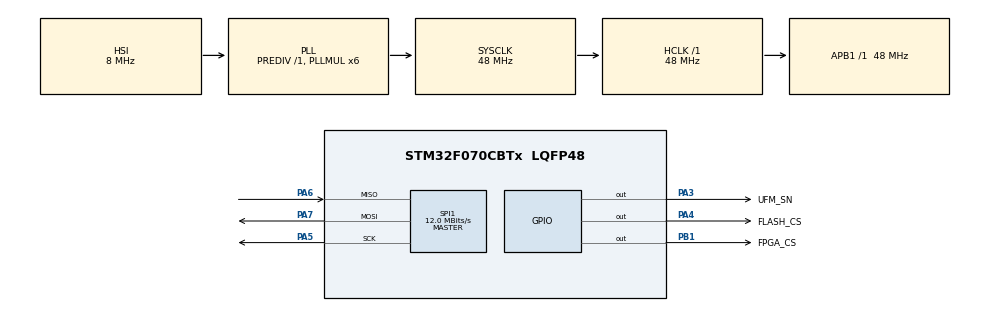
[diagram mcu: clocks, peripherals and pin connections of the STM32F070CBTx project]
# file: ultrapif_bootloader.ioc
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Dma.Request0=SPI1_RX
Dma.Request1=SPI1_TX
Dma.SPI1_RX.0.Direction=DMA_PERIPH_TO_MEMORY
Dma.SPI1_RX.0.Instance=DMA1_Channel2
Dma.SPI1_RX.0.MemDataAlignment=DMA_MDATAALIGN_BYTE
Dma.SPI1_RX.0.MemInc=DMA_MINC_ENABLE
Dma.SPI1_RX.0.Mode=DMA_NORMAL
Dma.SPI1_RX.0.PeriphDataAlignment=DMA_PDATAALIGN_BYTE
Dma.SPI1_RX.0.PeriphInc=DMA_PINC_DISABLE
Dma.SPI1_RX.0.Priority=DMA_PRIORITY_LOW
Dma.SPI1_TX.1.Direction=DMA_MEMORY_TO_PERIPH
Dma.SPI1_TX.1.Instance=DMA1_Channel3
Dma.SPI1_TX.1.MemDataAlignment=DMA_MDATAALIGN_BYTE
Dma.SPI1_TX.1.MemInc=DMA_MINC_ENABLE
Dma.SPI1_TX.1.Mode=DMA_NORMAL
Dma.SPI1_TX.1.PeriphDataAlignment=DMA_PDATAALIGN_BYTE
Dma.SPI1_TX.1.PeriphInc=DMA_PINC_DISABLE
Dma.SPI1_TX.1.Priority=DMA_PRIORITY_LOW
Mcu.Family=STM32F0
Mcu.Name=STM32F070CBTx
Mcu.Package=LQFP48
NVIC.DMA1_Channel2_3_IRQn=true\:0\:0\:false\:false\:true\:false\:true
PA3.GPIO_Label=UFM_SN
PA3.PinState=GPIO_PIN_SET
PA3.Signal=GPIO_Output
PA4.GPIO_Label=FLASH_CS
PA4.PinState=GPIO_PIN_SET
PA4.Signal=GPIO_Output
PA5.Mode=Full_Duplex_Master
PA5.Signal=SPI1_SCK
PA6.Mode=Full_Duplex_Master
PA6.Signal=SPI1_MISO
PA7.Mode=Full_Duplex_Master
PA7.Signal=SPI1_MOSI
PB1.GPIO_Label=FPGA_CS
PB1.PinState=GPIO_PIN_SET
PB1.Signal=GPIO_Output
ProjectManager.HeapSize=0x200
ProjectManager.StackSize=0x400
ProjectManager.TargetToolchain=STM32CubeIDE
RCC.AHBFreq_Value=48000000
RCC.APB1Freq_Value=48000000
RCC.APB1TimFreq_Value=48000000
RCC.HCLKFreq_Value=48000000
RCC.PLLMUL=RCC_PLL_MUL6
RCC.SYSCLKFreq_VALUE=48000000
RCC.SYSCLKSource=RCC_SYSCLKSOURCE_PLLCLK
SPI1.BaudRatePrescaler=SPI_BAUDRATEPRESCALER_4
SPI1.CalculateBaudRate=12.0 MBits/s
SPI1.DataSize=SPI_DATASIZE_8BIT
SPI1.Direction=SPI_DIRECTION_2LINES
SPI1.Mode=SPI_MODE_MASTER
SPI1.NSSPMode=SPI_NSS_PULSE_DISABLE
SPI1.VirtualType=VM_MASTER
board=custom

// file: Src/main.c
/**
  ******************************************************************************
  * @file           : main.c
  * @brief          : Main program body
  ******************************************************************************
  ** This notice applies to any and all portions of this file
  * that are not between comment pairs USER CODE BEGIN and
  * USER CODE END. Other portions of this file, whether
  * inserted by the user or by software development tools
  * are owned by their respective copyright owners.
  *
  * COPYRIGHT(c) 2018 STMicroelectronics
  *
  * Redistribution and use in source and binary forms, with or without modification,
  * are permitted provided that the following conditions are met:
  *   1. Redistributions of source code must retain the above copyright notice,
  *      this list of conditions and the following disclaimer.
  *   2. Redistributions in binary form must reproduce the above copyright notice,
  *      this list of conditions and the following disclaimer in the documentation
  *      and/or other materials provided with the distribution.
  *   3. Neither the name of STMicroelectronics nor the names of its contributors
  *      may be used to endorse or promote products derived from this software
  *      without specific prior written permission.
  *
  * THIS SOFTWARE IS PROVIDED BY THE COPYRIGHT HOLDERS AND CONTRIBUTORS "AS IS"
  * AND ANY EXPRESS OR IMPLIED WARRANTIES, INCLUDING, BUT NOT LIMITED TO, THE
  * IMPLIED WARRANTIES OF MERCHANTABILITY AND FITNESS FOR A PARTICULAR PURPOSE ARE
  * DISCLAIMED. IN NO EVENT SHALL THE COPYRIGHT HOLDER OR CONTRIBUTORS BE LIABLE
  * FOR ANY DIRECT, INDIRECT, INCIDENTAL, SPECIAL, EXEMPLARY, OR CONSEQUENTIAL
  * DAMAGES (INCLUDING, BUT NOT LIMITED TO, PROCUREMENT OF SUBSTITUTE GOODS OR
  * SERVICES; LOSS OF USE, DATA, OR PROFITS; OR BUSINESS INTERRUPTION) HOWEVER
  * CAUSED AND ON ANY THEORY OF LIABILITY, WHETHER IN CONTRACT, STRICT LIABILITY,
  * OR TORT (INCLUDING NEGLIGENCE OR OTHERWISE) ARISING IN ANY WAY OUT OF THE USE
  * OF THIS SOFTWARE, EVEN IF ADVISED OF THE POSSIBILITY OF SUCH DAMAGE.
  *
  ******************************************************************************
  */
#include "main.h"
#include "stm32f0xx_hal.h"

/* USER CODE BEGIN Includes */
#include <string.h>
#include <stdbool.h>
/* USER CODE END Includes */

SPI_HandleTypeDef hspi1;
DMA_HandleTypeDef hdma_spi1_rx;
DMA_HandleTypeDef hdma_spi1_tx;

/* USER CODE BEGIN PV */
/* Private variables ---------------------------------------------------------*/
SPI_HandleTypeDef *hspi_flash;
unsigned int CRCTable[ 256 ];
uint32_t FlashBuffer[1024];
/* USER CODE END PV */

void SystemClock_Config(void);
static void MX_GPIO_Init(void);
static void MX_DMA_Init(void);
static void MX_SPI1_Init(void);

/* USER CODE BEGIN PFP */
/* Private function prototypes -----------------------------------------------*/

/* USER CODE END PFP */

/* USER CODE BEGIN 0 */
#define APP_START_ADDR 0x08004000
#define APP_FLASH_SIZE (112 * 1024)

#define CRC32_POLYNOMIAL     0x04C11DB7

// CRC32_MAGIC is the result of the CRC calculation of a block with the valid
// CRC at the end of the data
#define CRC32_MAGIC          0x2144DF1C

static uint32_t Reflect(uint32_t ref, char ch )
{
   char i;
   uint32_t value = 0;
   /* Swap bit 0 for bit 7.
    * bit 1 for bit 6, etc.
    */
   for (i = 1; i < (ch + 1); i++)
   {
      if(ref & 1)
         value |= 1 << (ch - i);
      ref >>= 1;
   }
   return value;
}

void CRC_BuildTable(void)
{
   int i, j;
   uint32_t crc;

   for (i = 0; i < 256; i++)
   {
      crc = Reflect( i, 8 ) << 24;
      for (j = 0; j < 8; j++)
         crc = (crc << 1) ^ (crc & (1 << 31) ? CRC32_POLYNOMIAL : 0);
      CRCTable[i] = Reflect( crc, 32 );
   }
}

uint32_t CRC_Calculate(void *buffer, uint32_t count)
{
   uint32_t crc = 0xffffffff;
   uint8_t *p = (uint8_t*) buffer;
   while (count--)
      crc = (crc >> 8) ^ CRCTable[(crc & 0xFF) ^ *p++];
   return ~crc;
}

void CRC_Initialize(uint32_t *crc)
{
    *crc = 0xffffffff;
}

void CRC_Finalize(uint32_t *crc)
{
    *crc = ~(*crc);
}

void CRC_CalculateCont(uint32_t *crc, void *buffer, uint32_t count)
{
   uint8_t *p = (uint8_t*) buffer;
   uint32_t crcTemp = *crc;
   while (count--)
       crcTemp = (crcTemp >> 8) ^ CRCTable[(crcTemp & 0xFF) ^ *p++];
   *crc = crcTemp;
}

typedef void (*VoidFunc)(void);

void StartApp(void)
{
    uint32_t stackAddress = *(__IO uint32_t*) APP_START_ADDR;
    VoidFunc jump_app = *(__IO VoidFunc*)(APP_START_ADDR + 4);

    __disable_irq();

    // Disable all peripheral interrupts
    HAL_NVIC_DisableIRQ(SysTick_IRQn);
    HAL_NVIC_DisableIRQ(USART2_IRQn);

    HAL_NVIC_DisableIRQ(WWDG_IRQn);
    HAL_NVIC_DisableIRQ(RTC_IRQn);
    HAL_NVIC_DisableIRQ(FLASH_IRQn);
    HAL_NVIC_DisableIRQ(RCC_IRQn);
    HAL_NVIC_DisableIRQ(EXTI0_1_IRQn);
    HAL_NVIC_DisableIRQ(EXTI2_3_IRQn);
    HAL_NVIC_DisableIRQ(EXTI4_15_IRQn);
    HAL_NVIC_DisableIRQ(DMA1_Channel1_IRQn);
    HAL_NVIC_DisableIRQ(DMA1_Channel2_3_IRQn);
    HAL_NVIC_DisableIRQ(DMA1_Channel4_5_IRQn);
    HAL_NVIC_DisableIRQ(ADC1_IRQn);
    HAL_NVIC_DisableIRQ(TIM1_BRK_UP_TRG_COM_IRQn);
    HAL_NVIC_DisableIRQ(TIM1_CC_IRQn);
    HAL_NVIC_DisableIRQ(TIM3_IRQn);
    HAL_NVIC_DisableIRQ(TIM6_IRQn);
    HAL_NVIC_DisableIRQ(TIM7_IRQn);
    HAL_NVIC_DisableIRQ(TIM14_IRQn);
    HAL_NVIC_DisableIRQ(TIM15_IRQn);
    HAL_NVIC_DisableIRQ(TIM16_IRQn);
    HAL_NVIC_DisableIRQ(TIM17_IRQn);
    HAL_NVIC_DisableIRQ(I2C1_IRQn);
    HAL_NVIC_DisableIRQ(I2C2_IRQn);
    HAL_NVIC_DisableIRQ(SPI1_IRQn);
    HAL_NVIC_DisableIRQ(SPI2_IRQn);
    HAL_NVIC_DisableIRQ(USART1_IRQn);
    HAL_NVIC_DisableIRQ(USART2_IRQn);
    HAL_NVIC_DisableIRQ(USART3_6_IRQn);

    __set_MSP(stackAddress);
    jump_app();
}

void ReadJedecId(void)
{
    uint8_t cmd[1];
    uint8_t res[3];

    cmd[0] = 0x9f;

    memset(res, 0, sizeof(res));

    HAL_GPIO_WritePin(FLASH_CS_GPIO_Port, FLASH_CS_Pin, GPIO_PIN_RESET);
    HAL_SPI_Transmit(&hspi1, cmd, 1, 1000);
    HAL_SPI_Receive(&hspi1, res, 3, 1000);
    HAL_GPIO_WritePin(FLASH_CS_GPIO_Port, FLASH_CS_Pin, GPIO_PIN_SET);
}

#define CS_ENABLED GPIO_PIN_RESET
#define CS_DISABLED GPIO_PIN_SET

void FLASH_SetCs(GPIO_PinState pinState)
{
    HAL_GPIO_WritePin(FLASH_CS_GPIO_Port, FLASH_CS_Pin, pinState);
}

void FLASH_Read(uint32_t addr, uint16_t size, uint8_t *dst)
{
    uint8_t cmd[4];

    cmd[0] = 0x03;
    cmd[1] = (addr >> 16);
    cmd[2] = (addr >> 8);
    cmd[3] = (addr >> 0);

    FLASH_SetCs(CS_ENABLED);

    HAL_SPI_Transmit_DMA(hspi_flash, cmd, sizeof(cmd));
    while (hspi_flash->State != HAL_SPI_STATE_READY) ;

    HAL_SPI_Receive_DMA(hspi_flash, dst, size);
    while (hspi_flash->State != HAL_SPI_STATE_READY) ;

    FLASH_SetCs(CS_DISABLED);
}

void FLASH_WriteEnable(void)
{
    uint8_t cmd[1];

    cmd[0] = 0x06;

    FLASH_SetCs(CS_ENABLED);

    HAL_SPI_Transmit_DMA(hspi_flash, cmd, sizeof(cmd));
    while (hspi_flash->State != HAL_SPI_STATE_READY) ;

    FLASH_SetCs(CS_DISABLED);
}

void FLASH_WaitBusy(void)
{
    uint8_t cmd[1];
    uint8_t res[1];

    cmd[0] = 0x05;

    do
    {
        FLASH_SetCs(CS_ENABLED);

        HAL_SPI_Transmit_DMA(hspi_flash, cmd, sizeof(cmd));
        while (hspi_flash->State != HAL_SPI_STATE_READY) ;

        res[0] = 0xff;
        HAL_SPI_Receive_DMA(hspi_flash, res, sizeof(res));
        while (hspi_flash->State != HAL_SPI_STATE_READY) ;

        FLASH_SetCs(CS_DISABLED);
    } while (res[0] & 0x01); // while BUSY = '1'
}

void FLASH_Write(uint32_t addr, uint16_t size, uint8_t *src)
{
    uint8_t cmd[4];

    cmd[0] = 0x02;
    cmd[1] = (addr >> 16);
    cmd[2] = (addr >> 8);
    cmd[3] = (addr >> 0);

    FLASH_SetCs(CS_ENABLED);

    HAL_SPI_Transmit_DMA(hspi_flash, cmd, sizeof(cmd));
    while (hspi_flash->State != HAL_SPI_STATE_READY) ;

    HAL_SPI_Transmit_DMA(hspi_flash, src, (uint16_t)size);
    while (hspi_flash->State != HAL_SPI_STATE_READY) ;

    FLASH_SetCs(CS_DISABLED);
}

bool CheckFirmwareUpdate(void)
{
    uint32_t crc;

    CRC_Initialize(&crc);
    for (uint32_t spiAddr = 0; spiAddr < APP_FLASH_SIZE; spiAddr += sizeof(FlashBuffer))
    {
        FLASH_Read(spiAddr, sizeof(FlashBuffer), (uint8_t *)FlashBuffer);
        CRC_CalculateCont(&crc, FlashBuffer, sizeof(FlashBuffer));
    }
    CRC_Finalize(&crc);

    return (crc == CRC32_MAGIC);
}

void InvalidateFirmwareUpdate(void)
{
    uint32_t dummy = 0;

    FLASH_WriteEnable();
    FLASH_Write(112 * 1024 - 4, 4, (uint8_t *)&dummy);
    FLASH_WaitBusy();
}

void UpdateFirmware(void)
{
    HAL_FLASH_Unlock();

    FLASH_EraseInitTypeDef EraseInit;
    uint32_t PageError;

    EraseInit.PageAddress = APP_START_ADDR;
    EraseInit.NbPages = APP_FLASH_SIZE / 2048;
    EraseInit.TypeErase = FLASH_TYPEERASE_PAGES;
    HAL_FLASHEx_Erase(&EraseInit, &PageError);

    for (uint32_t spiAddr = 0; spiAddr < APP_FLASH_SIZE; spiAddr += sizeof(FlashBuffer))
    {
        FLASH_Read(spiAddr, sizeof(FlashBuffer), (uint8_t *)FlashBuffer);
        for (int i = 0; i < sizeof(FlashBuffer)/sizeof(uint32_t); i++)
        {
            HAL_FLASH_Program(FLASH_TYPEPROGRAM_WORD, APP_START_ADDR + spiAddr + (i << 2), FlashBuffer[i]);
        }
    }
    HAL_FLASH_Lock();
}
/* USER CODE END 0 */

int main(void)
{

  /* MCU Configuration----------------------------------------------------------*/

  /* Reset of all peripherals, Initializes the Flash interface and the Systick. */
  HAL_Init();

  /* Configure the system clock */
  SystemClock_Config();

  /* Initialize all configured peripherals */
  MX_GPIO_Init();
  MX_DMA_Init();
  MX_SPI1_Init();
  /* USER CODE BEGIN 2 */
    CRC_BuildTable();
    uint32_t crc = CRC_Calculate((void *)APP_START_ADDR, APP_FLASH_SIZE);

    //HAL_Delay(250);

    // Start the application if the CRC is valid
    if (crc == CRC32_MAGIC)
    {
        StartApp();
    }

    hspi_flash = &hspi1;

    // check if there is an valid image in the firmware update buffer
    if (CheckFirmwareUpdate())
    {
        UpdateFirmware();

        // don't use this update again
        InvalidateFirmwareUpdate();

        // start the app
        StartApp();
    }
    else
    {
        // no valid firmware update found
        // maybe this is flashed by the debugger
        if ((0xFFFFFFFF != *(__IO uint32_t*)APP_START_ADDR)
                && (0x00000000 != *(__IO uint32_t*)APP_START_ADDR))
        {
            // TODO: Should we update the CRC here?
            StartApp();
        }
    }

  /* USER CODE END 2 */

  /* Infinite loop */
  while (1)
  {

  }

}

void SystemClock_Config(void)
{

  RCC_OscInitTypeDef RCC_OscInitStruct;
  RCC_ClkInitTypeDef RCC_ClkInitStruct;

    /**Initializes the CPU, AHB and APB busses clocks
    */
  RCC_OscInitStruct.OscillatorType = RCC_OSCILLATORTYPE_HSI;
  RCC_OscInitStruct.HSIState = RCC_HSI_ON;
  RCC_OscInitStruct.HSICalibrationValue = 16;
  RCC_OscInitStruct.PLL.PLLState = RCC_PLL_ON;
  RCC_OscInitStruct.PLL.PLLSource = RCC_PLLSOURCE_HSI;
  RCC_OscInitStruct.PLL.PLLMUL = RCC_PLL_MUL6;
  RCC_OscInitStruct.PLL.PREDIV = RCC_PREDIV_DIV1;
  if (HAL_RCC_OscConfig(&RCC_OscInitStruct) != HAL_OK)
  {
    _Error_Handler(__FILE__, __LINE__);
  }

    /**Initializes the CPU, AHB and APB busses clocks
    */
  RCC_ClkInitStruct.ClockType = RCC_CLOCKTYPE_HCLK|RCC_CLOCKTYPE_SYSCLK
                              |RCC_CLOCKTYPE_PCLK1;
  RCC_ClkInitStruct.SYSCLKSource = RCC_SYSCLKSOURCE_PLLCLK;
  RCC_ClkInitStruct.AHBCLKDivider = RCC_SYSCLK_DIV1;
  RCC_ClkInitStruct.APB1CLKDivider = RCC_HCLK_DIV1;

  if (HAL_RCC_ClockConfig(&RCC_ClkInitStruct, FLASH_LATENCY_1) != HAL_OK)
  {
    _Error_Handler(__FILE__, __LINE__);
  }

    /**Configure the Systick interrupt time
    */
  HAL_SYSTICK_Config(HAL_RCC_GetHCLKFreq()/1000);

    /**Configure the Systick
    */
  HAL_SYSTICK_CLKSourceConfig(SYSTICK_CLKSOURCE_HCLK);

  /* SysTick_IRQn interrupt configuration */
  HAL_NVIC_SetPriority(SysTick_IRQn, 0, 0);
}

/* SPI1 init function */
static void MX_SPI1_Init(void)
{

  /* SPI1 parameter configuration*/
  hspi1.Instance = SPI1;
  hspi1.Init.Mode = SPI_MODE_MASTER;
  hspi1.Init.Direction = SPI_DIRECTION_2LINES;
  hspi1.Init.DataSize = SPI_DATASIZE_8BIT;
  hspi1.Init.CLKPolarity = SPI_POLARITY_LOW;
  hspi1.Init.CLKPhase = SPI_PHASE_1EDGE;
  hspi1.Init.NSS = SPI_NSS_SOFT;
  hspi1.Init.BaudRatePrescaler = SPI_BAUDRATEPRESCALER_4;
  hspi1.Init.FirstBit = SPI_FIRSTBIT_MSB;
  hspi1.Init.TIMode = SPI_TIMODE_DISABLE;
  hspi1.Init.CRCCalculation = SPI_CRCCALCULATION_DISABLE;
  hspi1.Init.CRCPolynomial = 7;
  hspi1.Init.CRCLength = SPI_CRC_LENGTH_DATASIZE;
  hspi1.Init.NSSPMode = SPI_NSS_PULSE_DISABLE;
  if (HAL_SPI_Init(&hspi1) != HAL_OK)
  {
    _Error_Handler(__FILE__, __LINE__);
  }

}

static void MX_DMA_Init(void)
{
  /* DMA controller clock enable */
  __HAL_RCC_DMA1_CLK_ENABLE();

  /* DMA interrupt init */
  /* DMA1_Channel2_3_IRQn interrupt configuration */
  HAL_NVIC_SetPriority(DMA1_Channel2_3_IRQn, 0, 0);
  HAL_NVIC_EnableIRQ(DMA1_Channel2_3_IRQn);

}

/** Configure pins as
        * Analog
        * Input
        * Output
        * EVENT_OUT
        * EXTI
*/
static void MX_GPIO_Init(void)
{

  GPIO_InitTypeDef GPIO_InitStruct;

  /* GPIO Ports Clock Enable */
  __HAL_RCC_GPIOA_CLK_ENABLE();
  __HAL_RCC_GPIOB_CLK_ENABLE();

  /*Configure GPIO pin Output Level */
  HAL_GPIO_WritePin(GPIOA, UFM_SN_Pin|FLASH_CS_Pin, GPIO_PIN_SET);

  /*Configure GPIO pin Output Level */
  HAL_GPIO_WritePin(FPGA_CS_GPIO_Port, FPGA_CS_Pin, GPIO_PIN_SET);

  /*Configure GPIO pins : UFM_SN_Pin FLASH_CS_Pin */
  GPIO_InitStruct.Pin = UFM_SN_Pin|FLASH_CS_Pin;
  GPIO_InitStruct.Mode = GPIO_MODE_OUTPUT_PP;
  GPIO_InitStruct.Pull = GPIO_NOPULL;
  GPIO_InitStruct.Speed = GPIO_SPEED_FREQ_LOW;
  HAL_GPIO_Init(GPIOA, &GPIO_InitStruct);

  /*Configure GPIO pin : FPGA_CS_Pin */
  GPIO_InitStruct.Pin = FPGA_CS_Pin;
  GPIO_InitStruct.Mode = GPIO_MODE_OUTPUT_PP;
  GPIO_InitStruct.Pull = GPIO_NOPULL;
  GPIO_InitStruct.Speed = GPIO_SPEED_FREQ_LOW;
  HAL_GPIO_Init(FPGA_CS_GPIO_Port, &GPIO_InitStruct);

}

void _Error_Handler(char *file, int line)
{
  while(1)
  {
  }
}

/************************ (C) COPYRIGHT STMicroelectronics *****END OF FILE****/
